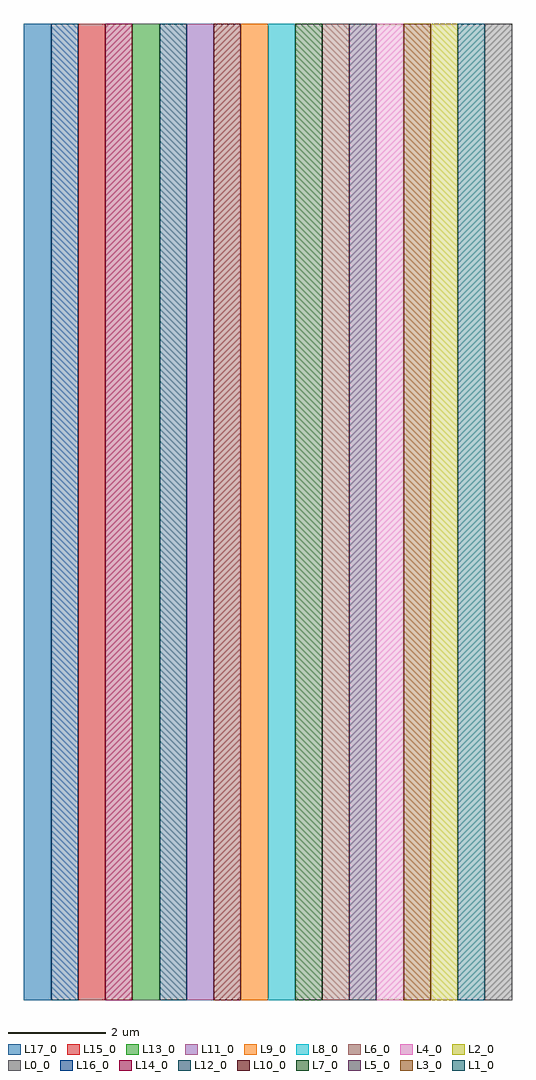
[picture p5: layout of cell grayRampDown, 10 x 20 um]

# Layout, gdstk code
import gdstk
lib = gdstk.Library(unit=1e-6, precision=1e-09)
def R(c, l, rs):  # rectangles x0, y0, x1, y1
    for r in rs: c.add(gdstk.rectangle(r[:2], r[2:], *l))
L0_0 = (0, 0)
L1_0 = (1, 0)
L2_0 = (2, 0)
L3_0 = (3, 0)
L4_0 = (4, 0)
L5_0 = (5, 0)
L6_0 = (6, 0)
L7_0 = (7, 0)
L8_0 = (8, 0)
L9_0 = (9, 0)
L10_0 = (10, 0)
L11_0 = (11, 0)
L12_0 = (12, 0)
L13_0 = (13, 0)
L14_0 = (14, 0)
L15_0 = (15, 0)
L16_0 = (16, 0)
L17_0 = (17, 0)

grayrampdown = lib.new_cell('grayRampDown')
R(grayrampdown, L0_0, [(9.444,0,10,20)])
R(grayrampdown, L1_0, [(8.889,0,9.444,20)])
R(grayrampdown, L2_0, [(8.333,0,8.889,20)])
R(grayrampdown, L3_0, [(7.778,0,8.333,20)])
R(grayrampdown, L4_0, [(7.222,0,7.778,20)])
R(grayrampdown, L5_0, [(6.667,0,7.222,20)])
R(grayrampdown, L6_0, [(6.111,0,6.667,20)])
R(grayrampdown, L7_0, [(5.556,0,6.111,20)])
R(grayrampdown, L8_0, [(5,0,5.556,20)])
R(grayrampdown, L9_0, [(4.444,0,5,20)])
R(grayrampdown, L10_0, [(3.889,0,4.444,20)])
R(grayrampdown, L11_0, [(3.333,0,3.889,20)])
R(grayrampdown, L12_0, [(2.778,0,3.333,20)])
R(grayrampdown, L13_0, [(2.222,0,2.778,20)])
R(grayrampdown, L14_0, [(1.667,0,2.222,20)])
R(grayrampdown, L15_0, [(1.111,0,1.667,20)])
R(grayrampdown, L16_0, [(0.556,0,1.111,20)])
R(grayrampdown, L17_0, [(0,0,0.556,20)])

lib.write_gds('grayRampDown.gds')
